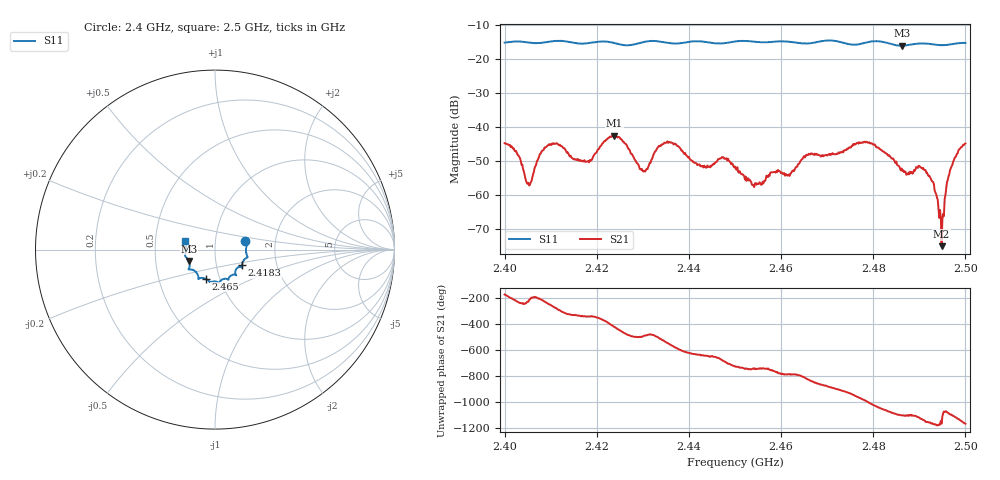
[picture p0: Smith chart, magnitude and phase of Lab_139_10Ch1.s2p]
# Hz S RI R 50
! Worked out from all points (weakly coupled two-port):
!   601 points, 2.4 GHz to 2.5 GHz, reference 50 ohm
!   highest |S21| = -42.51 dB at 2.4238 GHz (marker M1); lowest = -75.0 dB at 2.4948 GHz (marker M2)
!   lowest |S11| = -16.0 dB at 2.4862 GHz (marker M3), VSWR 1.38, Z = 37.1 - j4.8 ohm
!   |S11| at or under -10 dB: start of sweep to end of sweep
!   S12 and S22 are empty: the file has one direction only
!   S11 on the Smith chart (normalised r, x): 2.4 GHz: 1.40, +0.13; 2.4183 GHz: 1.33, -0.24; 2.465 GHz: 0.86, -0.29; 2.5 GHz: 0.71, +0.07
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2.4e9  0.1691 0.0454  -0.00573 -0.000926  0 0  0 0
2.402833e9  0.1796 0.033  -0.00268 0.00285  0 0  0 0
2.405167e9  0.1753 0.0173  -0.00106 0.00108  0 0  0 0
2.409833e9  0.1784 -0.0334  -0.00206 0.00511  0 0  0 0
2.416667e9  0.155 -0.0684  0.00302 0.00114  0 0  0 0
2.418333e9  0.1499 -0.0869  0.00286 0.00102  0 0  0 0
2.423833e9  0.1438 -0.0965  0.00362 -0.00656  0 0  0 0
2.43e9  0.1136 -0.1369  -0.00158 -0.00161  0 0  0 0
2.433333e9  0.1169 -0.1412  -0.00409 -0.00313  0 0  0 0
2.45e9  0.0252 -0.1806  0.00261 -0.000384  0 0  0 0
2.454167e9  0.0132 -0.1805  0.00118 -0.000577  0 0  0 0
2.461667e9  -0.0317 -0.1783  0.000778 -0.00186  0 0  0 0
2.465e9  -0.0527 -0.162  -4.8e-05 -0.00374  0 0  0 0
2.466667e9  -0.0712 -0.1575  -0.00216 -0.00349  0 0  0 0
2.478167e9  -0.1345 -0.1109  -6.66e-05 0.00612  0 0  0 0
2.483333e9  -0.1422 -0.096  0.00378 0.000318  0 0  0 0
2.486167e9  -0.1448 -0.0631  0.00222 -0.00107  0 0  0 0
2.491333e9  -0.167 -0.0315  0.000602 -0.00226  0 0  0 0
2.493167e9  -0.1638 -0.0177  -6.78e-05 -0.00144  0 0  0 0
2.494833e9  -0.1608 0.00211  -3.6e-07 -0.000178  0 0  0 0
2.496833e9  -0.1632 0.0257  0.00233 -0.000842  0 0  0 0
2.5e9  -0.167 0.0475  5.7e-06 -0.00576  0 0  0 0
